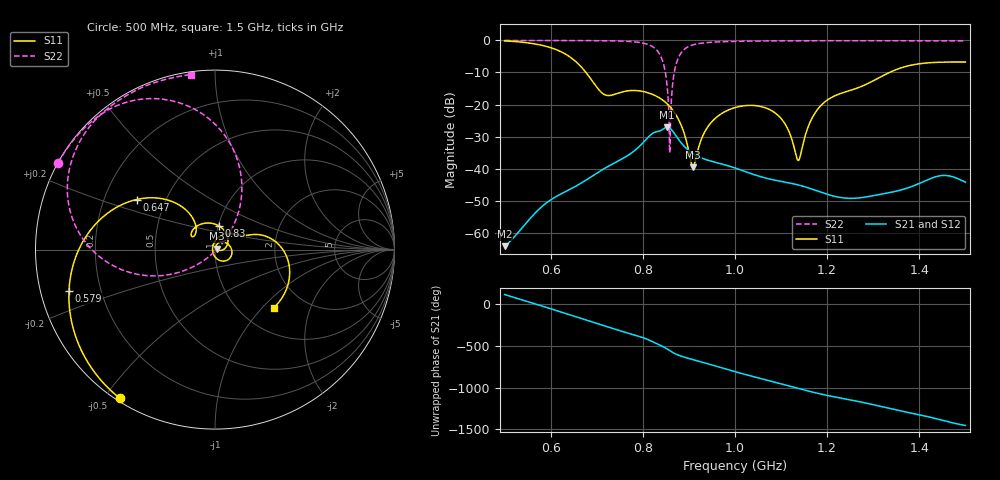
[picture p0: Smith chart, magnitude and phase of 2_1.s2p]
! TOUCHSTONE file generated by CST MICROWAVE STUDIO
! Date and time: Fri Oct  2 17:13:29 2020
! Project name: Scenario_1_Free_Space_out_of_line.cst
! Parameters = {Lambda=346.42; Step_1=17.321; dy1=330.299; dx1=173; L_HA=400; MT=2.54; Rad_Dielectric=30; Rad_Lower=7.3; Rad_Upper=30; a_HA=580; a_WG=246; b_HA=500; b_WG=121; c_HA=0; c_WG=187; d_feed=85; h_feed=15; h_lower=18; h_upper=40}
! Header version: 2018
! Port assignment regex: !\s*Touchstone port\s*([0-9]+)\s*=\s*(CST MWS port|CST DS port)\s*([0-9]+|Zmin|Zmax)\s*\(\"(.*)\"\)(\s*mode\s*([0-9]+))?.*
! Touchstone port assignment:
! Touchstone port 1 = CST MWS port 1 ("")
! Touchstone port 2 = CST MWS port 2 ("")
# GHz S DB R 50
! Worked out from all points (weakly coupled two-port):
!   1003 points, 500 MHz to 1.5 GHz, reference 50 ohm
!   highest |S21| = -27.09 dB at 853 MHz (marker M1); lowest = -64.2 dB at 500 MHz (marker M2)
!   lowest |S11| = -39.6 dB at 909 MHz (marker M3), VSWR 1.02, Z = 50.9 + j0.59 ohm
!   |S11| at or under -10 dB: 676.6 MHz to 1.335 GHz (658.4 MHz wide, 65.5 % of centre)
!   |S22| runs from -35.0 to 0.0 dB; largest |S21 - S12| = 4.1e-05
!   S11 on the Smith chart (normalised r, x): 500 MHz: 0.01, -0.55; 579 MHz: 0.09, -0.14; 647 MHz: 0.34, +0.26; 830 MHz: 1.01, +0.27; 1.5 GHz: 1.41, -1.16
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0.5  -0.15 -122.7  -64.18 113.9  -64.18 113.9  -0.01 151.1
0.579  -1.46 -164.2  -52.07 -19.6  -52.07 -19.6  -0.01 145.6
0.647  -5.70 147.4  -46.07 -139.1  -46.07 -139.1  -0.03 140.1
0.667  -8.37 133.6  -44.43 -173.3  -44.43 -173.3  -0.04 138.2
0.719  -17.03 140.0  -39.74 94.8  -39.74 94.8  -0.09 132.2
0.786  -15.64 128.2  -33.91 -15.8  -33.91 -15.8  -0.51 117.9
0.83  -17.44 81.0  -28.48 -114.2  -28.48 -114.2  -2.98 90.9
0.834  -17.76 75.6  -28.34 -124.3  -28.34 -124.3  -3.70 86.3
0.847  -19.05 57.0  -27.40 -158.4  -27.40 -158.4  -8.61 66.2
0.853  -19.81 47.8  -27.09 -178.4  -27.09 -178.4  -14.58 53.8
0.859  -20.70 38.3  -27.42 160.1  -27.42 160.1  -34.23 -115.8
0.867  -22.16 25.4  -28.74 134.3  -28.74 134.3  -11.01 -150.7
0.875  -24.00 12.7  -30.39 114.0  -30.39 114.0  -6.16 -165.0
0.909  -39.56 33.4  -35.31 54.7  -35.31 54.7  -1.37 162.7
0.943  -26.55 57.9  -37.45 2.6  -37.45 2.6  -0.63 150.3
1  -20.95 5.8  -39.79 -88.4  -39.79 -88.4  -0.28 140.2
1.089  -22.83 -61.0  -43.66 142.7  -43.66 142.7  -0.13 130.6
1.137  -37.45 -174.3  -45.07 71.9  -45.07 71.9  -0.10 126.5
1.167  -24.29 80.4  -46.38 28.8  -46.38 28.8  -0.10 124.1
1.334  -10.07 11.8  -47.51 -167.2  -47.51 -167.2  -0.09 111.3
1.446  -6.79 -31.6  -42.19 55.4  -42.16 55.6  -0.12 102.5
1.5  -6.73 -44.7  -44.24 -12.1  -44.19 -12.1  -0.14 97.8
